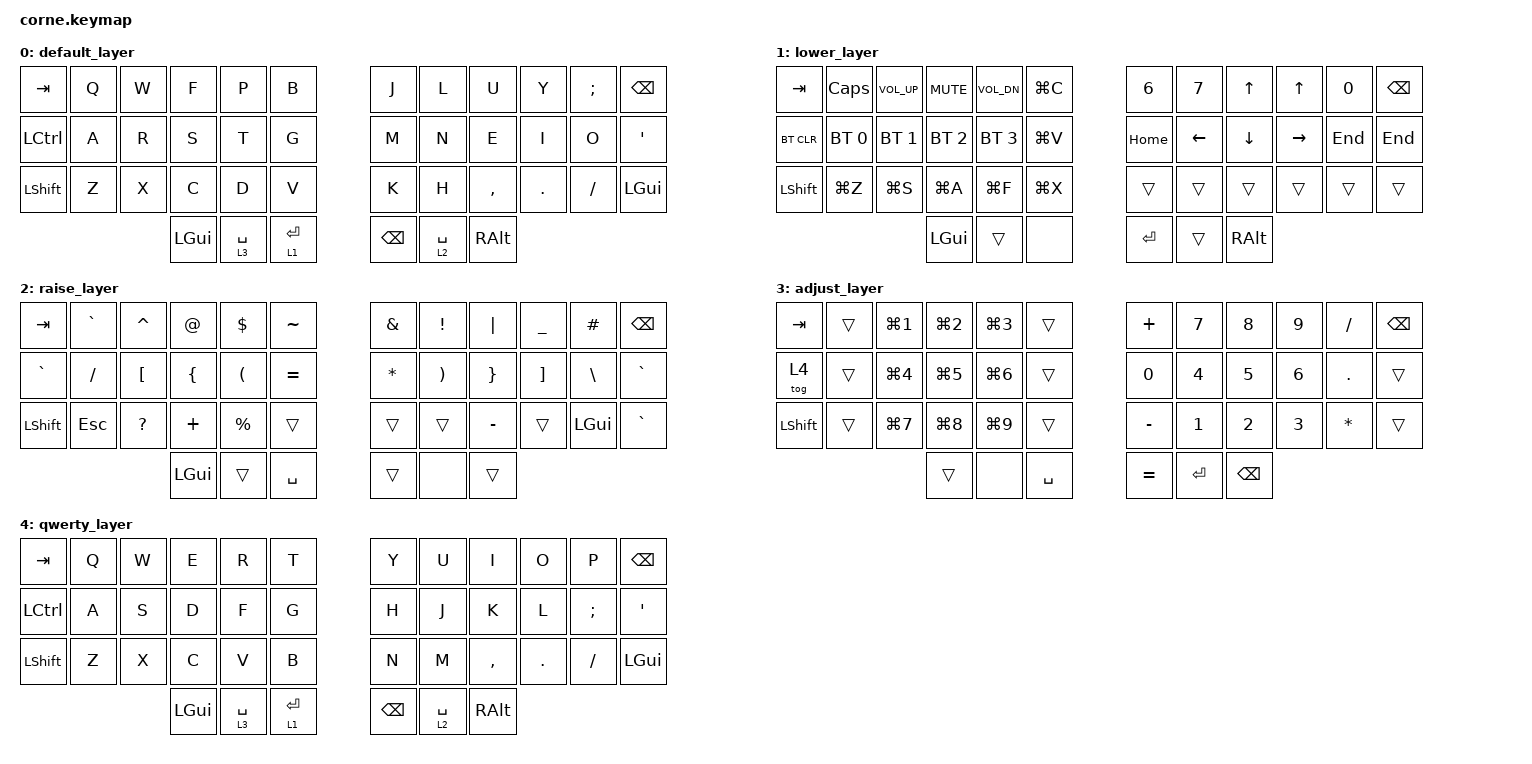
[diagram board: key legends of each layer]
/*
 * Copyright (c) 2020 The ZMK Contributors
 *
 * SPDX-License-Identifier: MIT
 */

#include <behaviors.dtsi>
#include <dt-bindings/zmk/keys.h>
#include <dt-bindings/zmk/bt.h>

/ {
        keymap {
                compatible = "zmk,keymap";

                default_layer {
// -----------------------------------------------------------------------------------------
// |  TAB |  Q  |  W  |  F  |  P  |  B  |   |  Y  |  U   |  I  |  O  |  P  | BKSP |
// | CTRL |  A  |  S  |  D  |  F  |  G  |   |  H  |  J   |  K  |  L  |  ;  |  '   |
// | SHFT |  Z  |  X  |  C  |  V  |  B  |   |  N  |  M   |  ,  |  .  |  /  | ESC  |
//                    | GUI | LWR | SPC |   | ENT | RSE  | ALT |
                        bindings = <
   &kp TAB   &kp Q &kp W    &kp F    &kp P &kp B &kp J       &kp L    &kp U       &kp Y   &kp SEMI    &kp BSPC
   &kp LCTRL &kp A &kp R    &kp S    &kp T &kp G &kp M       &kp N    &kp E       &kp I   &kp O &kp SQT
   &kp LSHFT &kp Z &kp X    &kp C    &kp D &kp V &kp K       &kp H    &kp COMMA   &kp DOT &kp FSLH &kp LGUI
                            &kp LGUI &lt 3 SPACE &lt 1 RET   &kp BSPC &lt 2 SPACE &kp RALT
                        >;
                };
                lower_layer {
// -----------------------------------------------------------------------------------------
// |  TAB |  1  |  2  |  3  |  4  |  5  |   |  6  |  7  |  8  |  9  |  0  | BKSP |
// | BTCLR| BT1 | BT2 | BT3 | BT4 | BT5 |   | LFT | DWN |  UP | RGT |     |      |
// | SHFT |     |     |     |     |     |   |     |     |     |     |     |      |
//                    | GUI |     | SPC |   | ENT |     | ALT |
                        bindings = <
   &kp TAB    &kp CAPS       &kp C_VOL_UP &kp C_MUTE   &kp C_VOL_DN &kp LG(C)      &kp N6   &kp N7   &kp UP    &kp UP     &kp N0    &kp BSPC
   &bt BT_CLR &bt BT_SEL 0   &bt BT_SEL 1 &bt BT_SEL 2 &bt BT_SEL 3 &kp LG(V)      &kp HOME &kp LEFT &kp DOWN  &kp RIGHT  &kp END   &kp END
   &kp LSHFT  &kp LG(Z)      &kp LG(S)    &kp LG(A)    &kp LG(F)    &kp LG(X)      &trans   &trans   &trans    &trans     &trans    &trans
                          	          &kp LGUI     &trans       &none          &kp RET  &trans   &kp RALT
                        >;
                };

                raise_layer {
// -----------------------------------------------------------------------------------------
// |  TAB |  !  |  @  |  #  |  $  |  %  |   |  ^  |  &  |  *  |  (  |  )  | BKSP |
// | CTRL |     |     |     |     |     |   |  -  |  =  |  [  |  ]  |  \  |  `   |
// | SHFT |     |     |     |     |     |   |  _  |  +  |  {  |  }  | "|" |  ~   |
//                    | GUI |     | SPC |   | ENT |     | ALT |
                        bindings = <
      &kp TAB &kp GRAVE &kp CARET &kp AT    &kp DLLR  &kp TILDE   &kp AMPS &kp EXCL  &kp PIPE     &kp UNDER   &kp HASH &kp BSPC
      &kp GRAVE &kp FSLH  &kp LBKT  &kp LBRC  &kp LPAR  &kp EQUAL   &kp STAR &kp RPAR  &kp RBRC     &kp RBKT    &kp BSLH &kp GRAVE
      &kp LSHFT &kp ESC &kp QMARK &kp PLUS  &kp PRCNT &trans      &trans   &trans    &kp MINUS    &trans      &kp LGUI &kp GRAVE
                                    &kp LGUI  &trans    &kp SPACE   &trans   &none     &trans
                        >;
                };

                adjust_layer {
// -----------------------------------------------------------------------------------------
// |  TAB |  !  |  @  |  #  |  $  |  %  |   |  ^  |  &  |  *  |  (  |  )  | BKSP |
// | CTRL |     |     |     |     |     |   |  -  |  =  |  [  |  ]  |  \  |  `   |
// | SHFT |     |     |     |     |     |   |  _  |  +  |  {  |  }  | "|" |  ~   |
//                    | GUI |     | SPC |   | ENT |     | ALT |
                        bindings = <
      &kp TAB    &trans &kp LG(N1)   &kp LG(N2)     &kp LG(N3)    &trans      &kp PLUS  &kp N7    &kp N8     &kp N9   &kp FSLH &kp BSPC
      &tog 4     &trans &kp LG(N4)   &kp LG(N5)     &kp LG(N6)    &trans      &kp N0    &kp N4    &kp N5     &kp N6   &kp DOT  &trans
      &kp LSHFT  &trans &kp LG(N7)   &kp LG(N8)     &kp LG(N9)    &trans      &kp MINUS &kp N1    &kp N2     &kp N3   &kp STAR &trans
                                     &trans         &none         &kp SPACE   &kp EQUAL &kp RET   &kp BSPC
                        >;
                };

                qwerty_layer {
// -----------------------------------------------------------------------------------------
// |  TAB |  !  |  @  |  #  |  $  |  %  |   |  ^  |  &  |  *  |  (  |  )  | BKSP |
// | CTRL |     |     |     |     |     |   |  -  |  =  |  [  |  ]  |  \  |  `   |
// | SHFT |     |     |     |     |     |   |  _  |  +  |  {  |  }  | "|" |  ~   |
//                    | GUI |     | SPC |   | ENT |     | ALT |
                        bindings = <
   &kp TAB   &kp Q &kp W    &kp E   &kp R &kp T &kp Y       &kp U    &kp I       &kp O   &kp P    &kp BSPC
   &kp LCTRL &kp A &kp S    &kp D    &kp F &kp G &kp H       &kp J    &kp K       &kp L   &kp SEMI &kp SQT
   &kp LSHFT &kp Z &kp X    &kp C    &kp V &kp B &kp N       &kp M    &kp COMMA   &kp DOT &kp FSLH &kp LGUI
                            &kp LGUI &lt 3 SPACE &lt 1 RET   &kp BSPC &lt 2 SPACE &kp RALT
                        >;
                };
        };
};
